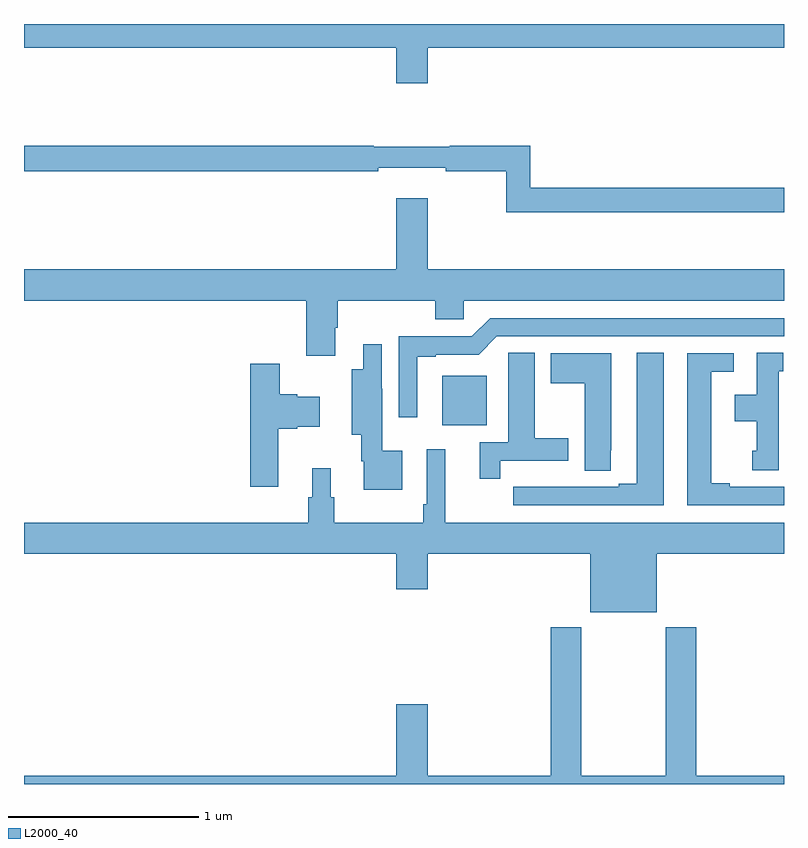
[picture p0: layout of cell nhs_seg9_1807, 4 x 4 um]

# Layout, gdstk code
import gdstk
lib = gdstk.Library(unit=1e-6, precision=1e-09)
def R(c, l, rs):  # rectangles x0, y0, x1, y1
    for r in rs: c.add(gdstk.rectangle(r[:2], r[2:], *l))
def P(c, l, *ps):  # polygons
    for p in ps: c.add(gdstk.Polygon(p, *l))
L2000_40 = (2000, 40)

nhs_seg9_1807 = lib.new_cell('nhs_seg9_1807')
R(nhs_seg9_1807, L2000_40, [(213.2,1238.387,213.436,1238.65)])
P(nhs_seg9_1807, L2000_40, [(213.124,1240.376),(215,1240.376),(215,1240.5),(211,1240.5),(211,1240.376),(212.96,1240.376),(212.96,1240.188),(213.124,1240.188)],
  [(215,1239.638),(213.665,1239.638),(213.665,1239.86),(213.242,1239.86),(213.242,1239.853),(212.842,1239.853),(212.842,1239.86),(211,1239.86),(211,1239.724),(212.864,1239.724),(212.864,1239.743),(213.22,1239.743),(213.22,1239.724),(213.537,1239.724),(213.537,1239.51),(215,1239.51)],
  [(212.638,1238.902),(212.651,1238.902),(212.651,1239.044),(213.164,1239.044),(213.164,1238.946),(213.315,1238.946),(213.315,1239.044),(215,1239.044),(215,1239.208),(213.124,1239.208),(213.124,1239.583),(212.96,1239.583),(212.96,1239.208),(211,1239.208),(211,1239.044),(212.486,1239.044),(212.486,1238.754),(212.638,1238.754)],
  [(213.07,1238.748),(213.166,1238.748),(213.166,1238.76),(213.393,1238.76),(213.489,1238.856),(215,1238.856),(215,1238.952),(213.453,1238.952),(213.357,1238.856),(212.973,1238.856),(212.973,1238.43),(213.07,1238.43)],
  [(212.992,1238.254),(212.886,1238.254),(212.886,1238.579),(212.884,1238.579),(212.884,1238.815),(212.786,1238.815),(212.786,1238.683),(212.726,1238.683),(212.726,1238.339),(212.775,1238.339),(212.775,1238.198),(212.787,1238.198),(212.787,1238.048),(212.992,1238.048)],
  [(214.366,1238.771),(214.226,1238.771),(214.226,1238.079),(214.13,1238.079),(214.13,1238.064),(213.854,1238.064),(213.854,1238.065),(213.688,1238.065),(213.688,1238.064),(213.576,1238.064),(213.576,1237.968),(214.366,1237.968)],
  [(213.506,1238.202),(213.865,1238.202),(213.865,1238.319),(213.688,1238.319),(213.688,1238.771),(213.549,1238.771),(213.549,1238.66),(213.548,1238.66),(213.548,1238.298),(213.398,1238.298),(213.398,1238.106),(213.506,1238.106)],
  [(214.972,1238.673),(214.996,1238.673),(214.996,1238.771),(214.856,1238.771),(214.856,1238.548),(214.742,1238.548),(214.742,1238.408),(214.856,1238.408),(214.856,1238.253),(214.832,1238.253),(214.832,1238.151),(214.972,1238.151)],
  [(214.089,1238.257),(214.09,1238.257),(214.09,1238.767),(213.773,1238.767),(213.773,1238.608),(213.95,1238.608),(213.95,1238.149),(214.089,1238.149)],
  [(215,1238.064),(214.714,1238.064),(214.714,1238.084),(214.618,1238.084),(214.618,1238.67),(214.735,1238.67),(214.735,1238.766),(214.49,1238.766),(214.49,1237.968),(215,1237.968)],
  [(212.338,1238.369),(212.439,1238.369),(212.439,1238.381),(212.557,1238.381),(212.557,1238.539),(212.439,1238.539),(212.439,1238.552),(212.346,1238.552),(212.346,1238.713),(212.192,1238.713),(212.192,1238.064),(212.338,1238.064)],
  [(214.33,1237.712),(215,1237.712),(215,1237.876),(213.218,1237.876),(213.218,1238.263),(213.12,1238.263),(213.12,1237.972),(213.1,1237.972),(213.1,1237.876),(212.633,1237.876),(212.633,1238.01),(212.614,1238.01),(212.614,1238.161),(212.516,1238.161),(212.516,1238.01),(212.497,1238.01),(212.497,1237.876),(211,1237.876),(211,1237.712),(212.96,1237.712),(212.96,1237.524),(213.124,1237.524),(213.124,1237.712),(213.98,1237.712),(213.98,1237.403),(214.33,1237.403)],
  [(215,1236.544),(214.538,1236.544),(214.538,1237.324),(214.378,1237.324),(214.378,1236.544),(213.933,1236.544),(213.933,1237.324),(213.773,1237.324),(213.773,1236.544),(213.124,1236.544),(213.124,1236.919),(212.96,1236.919),(212.96,1236.544),(211,1236.544),(211,1236.5),(215,1236.5)])

lib.write_gds('nhs_seg9_1807.gds')
